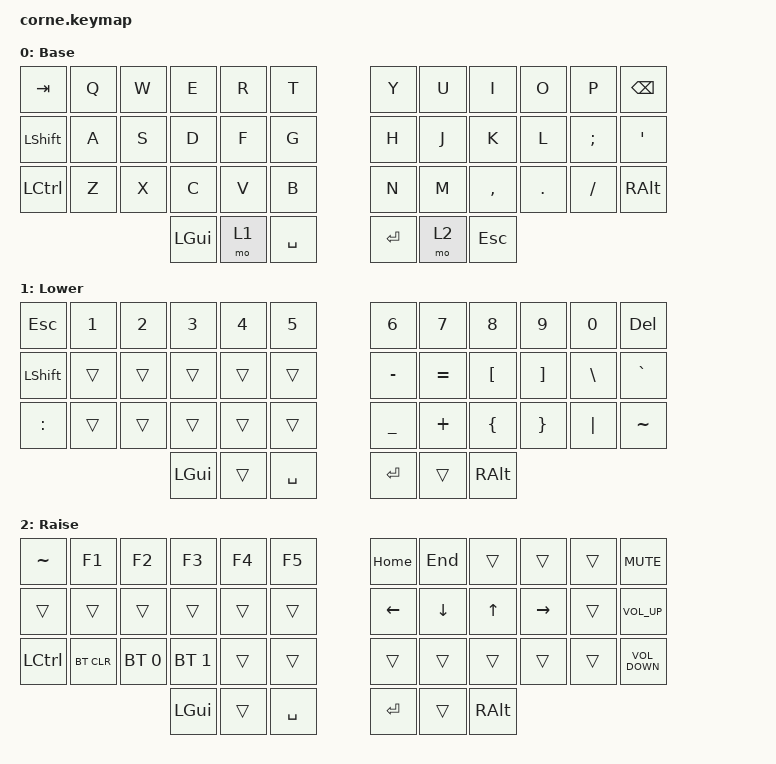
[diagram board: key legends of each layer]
/*
 * Copyright (c) 2020 The ZMK Contributors
 *
 * SPDX-License-Identifier: MIT
 */

#include <behaviors.dtsi>
#include <dt-bindings/zmk/keys.h>
#include <dt-bindings/zmk/bt.h>

/ {
        keymap {
                compatible = "zmk,keymap";

                default_layer {
// -----------------------------------------------------------------------------------------
// |  TAB |  Q  |  W  |  E  |  R  |  T  |   |  Y  |  U   |  I  |  O  |  P  | BKSP |
// | CTRL |  A  |  S  |  D  |  F  |  G  |   |  H  |  J   |  K  |  L  |  ;  |  '   |
// | SHFT |  Z  |  X  |  C  |  V  |  B  |   |  N  |  M   |  ,  |  .  |  /  | ESC  |
//                    | GUI | LWR | SPC |   | ENT | RSE  | ALT |
                        display-name = "Base";
                        bindings = <
   &kp TAB   &kp Q &kp W &kp E &kp R &kp T   &kp Y &kp U  &kp I     &kp O   &kp P    &kp BSPC
   &kp LSHFT &kp A &kp S &kp D &kp F &kp G   &kp H &kp J  &kp K     &kp L   &kp SEMI &kp SQT
   &kp LCTRL &kp Z &kp X &kp C &kp V &kp B   &kp N &kp M  &kp COMMA &kp DOT &kp FSLH &kp RALT
                  &kp LGUI &mo 1 &kp SPACE   &kp RET &mo 2 &kp ESC
                        >;
                };
                lower_layer {
// -----------------------------------------------------------------------------------------
// |  ESC |  1  |  2  |  3  |  4  |  5  |   |  6  |  7  |  8  |  9  |  0  | BKSP |
// | SHFT |     |     |     |     |     |   |  _  |  +  |  {  |  }  | "|" |  ~   |
// | CTRL |     |     |     |     |     |   |  -  |  =  |  [  |  ]  |  \  |  `   |
//                    | GUI |     | SPC |   | ENT |     | ALT |
                        display-name = "Lower";
                        bindings = <
   &kp ESC    &kp N1       &kp N2       &kp N3       &kp N4       &kp N5         &kp N6   &kp N7   &kp N8 &kp N9    &kp N0 &kp DEL
   &kp LSHFT &trans   &trans &trans   &trans   &trans      &kp MINUS &kp EQUAL &kp LBKT        &kp RBKT &kp BSLH &kp GRAVE
   &kp COLON &trans   &trans &trans   &trans   &trans      &kp UNDER &kp PLUS  &kp LBRC        &kp RBRC &kp PIPE &kp TILDE
                          	        &kp LGUI     &trans       &kp SPACE      &kp RET  &trans   &kp RALT
                        >;
                };

                raise_layer {
// -----------------------------------------------------------------------------------------
// |  ` |  !  |  @  |  #  |  $  |  %  |   |  ^  |  &  |  *  |  (  |  )  | BKSP |
// | BTCLR| BT1 | BT2 | BT3 | BT4 | BT5 |   | LFT | DWN |  UP | RGT |     |      |
//                    | GUI |     | SPC |   | ENT |     | ALT |
                        display-name = "Raise";
                        bindings = <
   &kp  TILDE  &kp F1 &kp F2 &kp F3 &kp F4 &kp F5   &kp HOME &kp END  &trans &trans &trans &kp C_MUTE
   &trans   &trans &trans   &trans &trans &trans   &kp LEFT &kp DOWN &kp UP &kp RIGHT &trans &kp C_VOLUME_UP 
   &kp LCTRL &bt BT_CLR &bt BT_SEL 0 &bt BT_SEL 1 &trans   &trans      &trans &trans &trans &trans &trans &kp C_VOLUME_DOWN
                    	     &kp LGUI &trans   &kp SPACE   &kp RET   &trans    &kp RALT
                        >;
                };
        };
};
